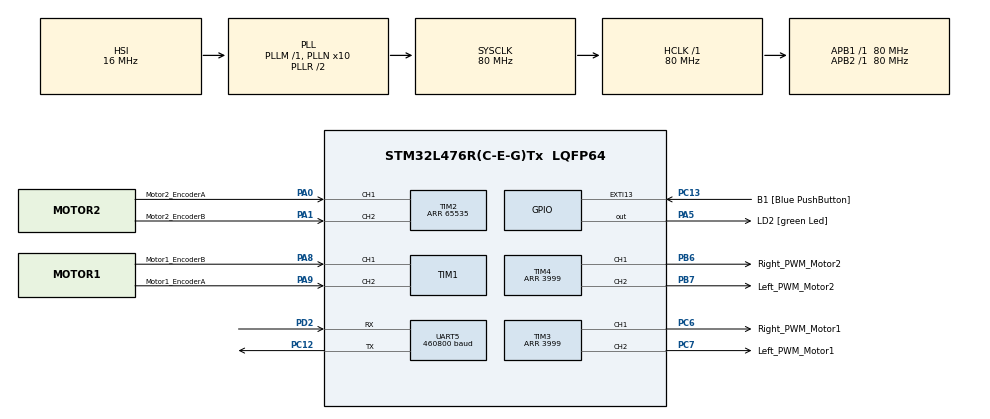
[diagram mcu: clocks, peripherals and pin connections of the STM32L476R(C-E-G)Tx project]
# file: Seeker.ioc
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Mcu.Family=STM32L4
Mcu.Name=STM32L476R(C-E-G)Tx
Mcu.Package=LQFP64
NVIC.PriorityGroup=NVIC_PRIORITYGROUP_4
NVIC.TIM6_DAC_IRQn=true\:1\:0\:true\:false\:true\:true\:true\:true
NVIC.UART5_IRQn=true\:0\:0\:false\:false\:true\:true\:true\:true
PA0.GPIO_Label=Motor2_EncoderA
PA0.Signal=S_TIM2_CH1
PA1.GPIO_Label=Motor2_EncoderB
PA1.Signal=S_TIM2_CH2
PA13\ (JTMS-SWDIO).GPIO_Label=TMS
PA13\ (JTMS-SWDIO).Mode=Serial_Wire
PA13\ (JTMS-SWDIO).Signal=SYS_JTMS-SWDIO
PA14\ (JTCK-SWCLK).GPIO_Label=TCK
PA14\ (JTCK-SWCLK).Mode=Serial_Wire
PA14\ (JTCK-SWCLK).Signal=SYS_JTCK-SWCLK
PA5.GPIO_Label=LD2 [green Led]
PA5.GPIO_ModeDefaultOutputPP=GPIO_MODE_OUTPUT_PP
PA5.GPIO_PuPd=GPIO_NOPULL
PA5.GPIO_Speed=GPIO_SPEED_FREQ_LOW
PA5.Signal=GPIO_Output
PA8.GPIO_Label=Motor1_EncoderB
PA8.Signal=S_TIM1_CH1
PA9.GPIO_Label=Motor1_EncoderA
PA9.Signal=S_TIM1_CH2
PB3\ (JTDO-TRACESWO).GPIO_Label=SWO
PB3\ (JTDO-TRACESWO).Signal=SYS_JTDO-SWO
PB6.GPIO_Label=Right_PWM_Motor2
PB6.Signal=S_TIM4_CH1
PB7.GPIO_Label=Left_PWM_Motor2
PB7.Signal=S_TIM4_CH2
PC12.Mode=Asynchronous
PC12.Signal=UART5_TX
PC13.GPIO_Label=B1 [Blue PushButton]
PC13.GPIO_ModeDefaultEXTI=GPIO_MODE_IT_FALLING
PC13.GPIO_PuPd=GPIO_NOPULL
PC13.Signal=GPXTI13
PC14-OSC32_IN\ (PC14).Mode=LSE-External-Oscillator
PC14-OSC32_IN\ (PC14).Signal=RCC_OSC32_IN
PC15-OSC32_OUT\ (PC15).Mode=LSE-External-Oscillator
PC15-OSC32_OUT\ (PC15).Signal=RCC_OSC32_OUT
PC6.GPIO_Label=Right_PWM_Motor1
PC6.Signal=S_TIM3_CH1
PC7.GPIO_Label=Left_PWM_Motor1
PC7.Signal=S_TIM3_CH2
PD2.Mode=Asynchronous
PD2.Signal=UART5_RX
PH0-OSC_IN\ (PH0).Signal=RCC_OSC_IN
PH1-OSC_OUT\ (PH1).Signal=RCC_OSC_OUT
ProjectManager.HeapSize=0x200
ProjectManager.StackSize=0x400
ProjectManager.TargetToolchain=STM32CubeIDE
RCC.ADCFreq_Value=64000000
RCC.AHBFreq_Value=80000000
RCC.APB1Freq_Value=80000000
RCC.APB1TimFreq_Value=80000000
RCC.APB2Freq_Value=80000000
RCC.APB2TimFreq_Value=80000000
RCC.CortexFreq_Value=80000000
RCC.HCLKFreq_Value=80000000
RCC.HSE_VALUE=8000000
RCC.HSI_VALUE=16000000
RCC.MSI_VALUE=4000000
RCC.PLLN=10
RCC.PLLSourceVirtual=RCC_PLLSOURCE_HSI
RCC.PREFETCH_ENABLE=1
RCC.SYSCLKFreq_VALUE=80000000
RCC.SYSCLKSource=RCC_SYSCLKSOURCE_PLLCLK
RCC.USBFreq_Value=64000000
RCC.VCOOutputFreq_Value=160000000
SH.S_TIM1_CH1.0=TIM1_CH1,Encoder_Interface
SH.S_TIM1_CH2.0=TIM1_CH2,Encoder_Interface
SH.S_TIM2_CH1.0=TIM2_CH1,Encoder_Interface
SH.S_TIM2_CH2.0=TIM2_CH2,Encoder_Interface
SH.S_TIM3_CH1.0=TIM3_CH1,PWM Generation1 CH1
SH.S_TIM3_CH2.0=TIM3_CH2,PWM Generation2 CH2
SH.S_TIM4_CH1.0=TIM4_CH1,PWM Generation1 CH1
SH.S_TIM4_CH2.0=TIM4_CH2,PWM Generation2 CH2
TIM1.EncoderMode=TIM_ENCODERMODE_TI12
TIM2.EncoderMode=TIM_ENCODERMODE_TI12
TIM2.Period=65535
TIM3.AutoReloadPreload=TIM_AUTORELOAD_PRELOAD_ENABLE
TIM3.Channel-PWM\ Generation1\ CH1=TIM_CHANNEL_1
TIM3.Channel-PWM\ Generation2\ CH2=TIM_CHANNEL_2
TIM3.Period=3999
TIM4.AutoReloadPreload=TIM_AUTORELOAD_PRELOAD_ENABLE
TIM4.Channel-PWM\ Generation1\ CH1=TIM_CHANNEL_1
TIM4.Channel-PWM\ Generation2\ CH2=TIM_CHANNEL_2
TIM4.Period=3999
TIM6.AutoReloadPreload=TIM_AUTORELOAD_PRELOAD_DISABLE
TIM6.Period=99
TIM6.Prescaler=7999
UART5.BaudRate=460800
VP_TIM3_VS_ClockSourceINT.Mode=Internal
VP_TIM4_VS_ClockSourceINT.Mode=Internal
VP_TIM6_VS_ClockSourceINT.Mode=Enable_Timer
board=NUCLEO-L476RG

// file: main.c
/* USER CODE BEGIN Header */
/**
  ******************************************************************************
  * @file           : main.c
  * @brief          : Main program body
  ******************************************************************************
  * @attention
  *
  * Copyright (c) 2025 STMicroelectronics.
  * All rights reserved.
  *
  * This software is licensed under terms that can be found in the LICENSE file
  * in the root directory of this software component.
  * If no LICENSE file comes with this software, it is provided AS-IS.
  *
  ******************************************************************************
  */
/* USER CODE END Header */
#include "main.h"

/* USER CODE BEGIN Includes */
#include <math.h>
#include <string.h>
#include <stdio.h>
/* USER CODE END Includes */

TIM_HandleTypeDef htim1;
TIM_HandleTypeDef htim2;
TIM_HandleTypeDef htim3;
TIM_HandleTypeDef htim4;
TIM_HandleTypeDef htim6;

UART_HandleTypeDef huart5;

/* USER CODE BEGIN PV */
#define ADC_MAX 4095
#define ADC_MID 2048
#define DEADZONE 500
#define TIM_ARR 3999

#define SPEED_RAMP_STEP 2.0f  // How fast target speed changes (encoder counts per 0.01s)

// PID Constants - tune these values
#define KP 6.5f     // Proportional gain
#define KI 3.0f     // Integral gain
#define KD 0.04f    // Derivative gain

// ENCODER FILTER: Low-pass filter coefficient (0.0 to 1.0)
#define ENCODER_FILTER_ALPHA 0.3f  // 30% new reading, 70% old reading

// Encoder speed limits (counts per 0.01s = counts per 100Hz update)
#define ENCODER_MAX_SPEED 100
#define ENCODER_MIN_SPEED -100

// Bluetooth UART buffers
#define BT_RX_BUFFER_SIZE 64
uint8_t bt_rx_buffer[BT_RX_BUFFER_SIZE];
uint8_t bt_rx_index = 0;
volatile uint8_t bt_line_ready = 0;

// Received Bluetooth values (replacing local ADC)
volatile uint32_t bt_joy_x = ADC_MID;  // Default to center
volatile uint32_t bt_joy_y = ADC_MID;  // Default to center
volatile uint32_t bt_speed = 0;        // Default to stopped
volatile uint32_t last_bt_rx_time = 0; // Timeout safety

volatile int32_t joy_Y = 0;
volatile int32_t joy_X = 0;
volatile uint32_t speed = 0;
volatile uint32_t speed_base = 0;
volatile uint32_t raw_joy_Y = 0;
volatile uint32_t raw_joy_X = 0;

typedef struct
{
    volatile uint32_t ch1_pwm;
    volatile uint32_t ch2_pwm;
    volatile uint32_t target_ch1;
    volatile uint32_t target_ch2;

    // Encoder variables
    volatile int32_t encoder_count;
    volatile int32_t encoder_speed;
    volatile int32_t encoder_speed_raw;
    volatile float encoder_speed_filtered;
    volatile int32_t last_encoder_count;

    // PID variables
    volatile float target_speed;
    volatile float desired_speed;
    volatile float pid_error;
    volatile float pid_integral;
    volatile float pid_last_error;
    volatile float pid_output;

    // Diagnostic variables
    volatile float p_term;
    volatile float i_term;
    volatile float d_term;

} Motor;

Motor motor1;
Motor motor2;
/* USER CODE END PV */

void SystemClock_Config(void);
static void MX_GPIO_Init(void);
static void MX_TIM3_Init(void);
static void MX_TIM6_Init(void);
static void MX_TIM4_Init(void);
static void MX_TIM1_Init(void);
static void MX_TIM2_Init(void);
static void MX_UART5_Init(void);

/* USER CODE BEGIN 0 */
float ramp_speed_to_target(float current, float target)
{
    if (current < target)
    {
        current += SPEED_RAMP_STEP;
        if (current > target)
            current = target;
    }
    else if (current > target)
    {
        current -= SPEED_RAMP_STEP;
        if (current < target)
            current = target;
    }
    return current;
}

void update_encoder_speed(Motor *motor, int32_t current_encoder_count)
{
    motor->encoder_count = current_encoder_count;

    // Calculate the difference (could be large if counter wraps around)
    int32_t count_diff = current_encoder_count - motor->last_encoder_count;

    // Handle timer counter overflow/underflow (65535 wrap-around)
    if (count_diff > 32768)
    {
        count_diff -= 65536;
    }
    else if (count_diff < -32768)
    {
        count_diff += 65536;
    }

    // Negate if encoders are wired backwards
    motor->encoder_speed_raw = count_diff;

    // Apply low-pass filter to smooth out noise
    motor->encoder_speed_filtered = ENCODER_FILTER_ALPHA * (float)motor->encoder_speed_raw +
                                    (1.0f - ENCODER_FILTER_ALPHA) * motor->encoder_speed_filtered;

    motor->encoder_speed = (int32_t)motor->encoder_speed_filtered;
    motor->last_encoder_count = current_encoder_count;
}

// PID controller function
void update_pid(Motor *motor)
{
    if (motor->target_speed == 0.0f)
    {
        motor->pid_error = 0.0f;
        motor->pid_integral = 0.0f;
        motor->pid_last_error = 0.0f;
        motor->pid_output = 0.0f;
        motor->p_term = 0.0f;
        motor->i_term = 0.0f;
        motor->d_term = 0.0f;
        return;
    }

    float target_encoder_speed = fabs(motor->target_speed);
    float actual_encoder_speed = fabs((float)motor->encoder_speed);

    motor->pid_error = target_encoder_speed - actual_encoder_speed;

    motor->pid_integral += motor->pid_error * 0.01f;

    float max_integral = 200.0f;
    if (motor->pid_integral > max_integral)
        motor->pid_integral = max_integral;
    else if (motor->pid_integral < -max_integral)
        motor->pid_integral = -max_integral;

    float derivative = (motor->pid_error - motor->pid_last_error) / 0.01f;

    motor->p_term = KP * motor->pid_error;
    motor->i_term = KI * motor->pid_integral;
    motor->d_term = KD * derivative;

    float pid_speed_output = motor->p_term + motor->i_term + motor->d_term;

    motor->pid_output = (pid_speed_output / (float)ENCODER_MAX_SPEED) * (float)TIM_ARR;

    if (motor->pid_output > (float)TIM_ARR)
        motor->pid_output = (float)TIM_ARR;
    else if (motor->pid_output < 0.0f)
        motor->pid_output = 0.0f;

    motor->pid_last_error = motor->pid_error;
}

// Parse Bluetooth data and update motor control
void ParseBluetoothData(char *line)
{
    uint32_t x, y, pot;
    if (sscanf(line, "%lu,%lu,%lu", &x, &y, &pot) == 3)
    {
        // Update received values
        bt_joy_x = x;
        bt_joy_y = y;
        bt_speed = pot;

        // Process just like ADC callback
        raw_joy_X = bt_joy_x;
        raw_joy_Y = bt_joy_y;
        speed = bt_speed;

        // Calculate base speed from pot
        speed_base = (speed * TIM_ARR) / ADC_MAX;
        float speed_ratio = (float)speed_base / (float)TIM_ARR;

        joy_Y = (int32_t)ADC_MID - raw_joy_Y ;
        joy_X = raw_joy_X - (int32_t)ADC_MID;

        if (speed_base == 0 || (joy_Y > -(int32_t)DEADZONE && joy_Y < (int32_t)DEADZONE))
        {
            motor1.desired_speed = 0.0f;
            motor2.desired_speed = 0.0f;
        }
        else if (joy_Y > (int32_t)DEADZONE)

        {

        	if ((joy_X > -(int32_t)DEADZONE && joy_X < (int32_t)DEADZONE)) //no turning
        	{

        		motor1.desired_speed = speed_ratio * (float)ENCODER_MAX_SPEED;
        		motor2.desired_speed = speed_ratio * (float)ENCODER_MIN_SPEED;

        	}

        	else if (joy_X > (int32_t)DEADZONE) //turning right
        	{
        		motor1.desired_speed = speed_ratio * (float)ENCODER_MIN_SPEED;
        		motor2.desired_speed = speed_ratio * (float)ENCODER_MIN_SPEED;

        	}

        	else if (joy_X < -(int32_t)DEADZONE) //turning left
        	{
        	   motor1.desired_speed = speed_ratio * (float)ENCODER_MAX_SPEED;
        	   motor2.desired_speed = speed_ratio * (float)ENCODER_MAX_SPEED;

        	}

        }
        else if (joy_Y < -(int32_t)DEADZONE) //would backwards turning be the same as forwards turning?
        {

        	if ((joy_X > -(int32_t)DEADZONE && joy_X < (int32_t)DEADZONE)) //no turning
        	{

        		motor1.desired_speed = speed_ratio * (float)ENCODER_MIN_SPEED;
        		motor2.desired_speed = speed_ratio * (float)ENCODER_MAX_SPEED;

        	}

        	else if (joy_X > (int32_t)DEADZONE) //turning right
        	{
        		motor1.desired_speed = speed_ratio * (float)ENCODER_MIN_SPEED;
        		motor2.desired_speed = speed_ratio * (float)ENCODER_MIN_SPEED;

        	}

        	else if (joy_X < -(int32_t)DEADZONE) //turning left
        	{
        	   motor1.desired_speed = speed_ratio * (float)ENCODER_MAX_SPEED;
        	   motor2.desired_speed = speed_ratio * (float)ENCODER_MAX_SPEED;

        	}
        }
    }
}
/* USER CODE END 0 */

int main(void)
{

  /* MCU Configuration--------------------------------------------------------*/

  /* Reset of all peripherals, Initializes the Flash interface and the Systick. */
  HAL_Init();

  /* Configure the system clock */
  SystemClock_Config();

  /* Initialize all configured peripherals */
  MX_GPIO_Init();
  MX_TIM3_Init();
  MX_TIM6_Init();
  MX_TIM4_Init();
  MX_TIM1_Init();
  MX_TIM2_Init();
  MX_UART5_Init();
  /* USER CODE BEGIN 2 */
  // Initialize motor structs
  motor1.ch1_pwm = 0;
  motor1.ch2_pwm = 0;
  motor1.target_ch1 = 0;
  motor1.target_ch2 = 0;
  motor1.encoder_count = 0;
  motor1.encoder_speed = 0;
  motor1.encoder_speed_raw = 0;
  motor1.encoder_speed_filtered = 0.0f;
  motor1.last_encoder_count = 0;
  motor1.target_speed = 0.0f;
  motor1.desired_speed = 0.0f;
  motor1.pid_error = 0.0f;
  motor1.pid_integral = 0.0f;
  motor1.pid_last_error = 0.0f;
  motor1.pid_output = 0.0f;
  motor1.p_term = 0.0f;
  motor1.i_term = 0.0f;
  motor1.d_term = 0.0f;

  motor2.ch1_pwm = 0;
  motor2.ch2_pwm = 0;
  motor2.target_ch1 = 0;
  motor2.target_ch2 = 0;
  motor2.encoder_count = 0;
  motor2.encoder_speed = 0;
  motor2.encoder_speed_raw = 0;
  motor2.encoder_speed_filtered = 0.0f;
  motor2.last_encoder_count = 0;
  motor2.target_speed = 0.0f;
  motor2.desired_speed = 0.0f;
  motor2.pid_error = 0.0f;
  motor2.pid_integral = 0.0f;
  motor2.pid_last_error = 0.0f;
  motor2.pid_output = 0.0f;
  motor2.p_term = 0.0f;
  motor2.i_term = 0.0f;
  motor2.d_term = 0.0f;

  // Start encoder timers (TIM1 for motor1, TIM2 for motor2)
  HAL_TIM_Encoder_Start(&htim1, TIM_CHANNEL_ALL);
  HAL_TIM_Encoder_Start(&htim2, TIM_CHANNEL_ALL);

  HAL_TIM_Base_Start_IT(&htim6); //100Hz timer for speed calculation and control

  //start TIM3 (motor 1 PWM)
  if (HAL_TIM_Base_Start(&htim3) != HAL_OK)
  {
      while(1) { __NOP(); }
  }
  if (HAL_TIM_PWM_Start(&htim3, TIM_CHANNEL_1) != HAL_OK)
  {
      while(1) { __NOP(); }
  }
  if (HAL_TIM_PWM_Start(&htim3, TIM_CHANNEL_2) != HAL_OK)
  {
      while(1) { __NOP(); }
  }

  //start TIM4 (motor 2 PWM)
  if (HAL_TIM_Base_Start(&htim4) != HAL_OK)
  {
      while(1) { __NOP(); }
  }
  if (HAL_TIM_PWM_Start(&htim4, TIM_CHANNEL_1) != HAL_OK)
  {
      while(1) { __NOP(); }
  }
  if (HAL_TIM_PWM_Start(&htim4, TIM_CHANNEL_2) != HAL_OK)
  {
      while(1) { __NOP(); }
  }

  // ========== UART5 BLUETOOTH SETUP ==========
  // Enable UART5 interrupt in NVIC
  HAL_NVIC_SetPriority(UART5_IRQn, 0, 0);
  HAL_NVIC_EnableIRQ(UART5_IRQn);

  // ARM the UART to receive the first byte
  // This MUST be called to start the interrupt chain
  HAL_UART_Receive_IT(&huart5, &bt_rx_buffer[0], 1);

  // Initialize safety timeout
  last_bt_rx_time = HAL_GetTick();

  /* USER CODE END 2 */

  /* Infinite loop */
  while (1)
  {

  }
}

void SystemClock_Config(void)
{
  RCC_OscInitTypeDef RCC_OscInitStruct = {0};
  RCC_ClkInitTypeDef RCC_ClkInitStruct = {0};

  /** Configure the main internal regulator output voltage
  */
  if (HAL_PWREx_ControlVoltageScaling(PWR_REGULATOR_VOLTAGE_SCALE1) != HAL_OK)
  {
    Error_Handler();
  }

  /** Initializes the RCC Oscillators according to the specified parameters
  * in the RCC_OscInitTypeDef structure.
  */
  RCC_OscInitStruct.OscillatorType = RCC_OSCILLATORTYPE_HSI;
  RCC_OscInitStruct.HSIState = RCC_HSI_ON;
  RCC_OscInitStruct.HSICalibrationValue = RCC_HSICALIBRATION_DEFAULT;
  RCC_OscInitStruct.PLL.PLLState = RCC_PLL_ON;
  RCC_OscInitStruct.PLL.PLLSource = RCC_PLLSOURCE_HSI;
  RCC_OscInitStruct.PLL.PLLM = 1;
  RCC_OscInitStruct.PLL.PLLN = 10;
  RCC_OscInitStruct.PLL.PLLP = RCC_PLLP_DIV7;
  RCC_OscInitStruct.PLL.PLLQ = RCC_PLLQ_DIV2;
  RCC_OscInitStruct.PLL.PLLR = RCC_PLLR_DIV2;
  if (HAL_RCC_OscConfig(&RCC_OscInitStruct) != HAL_OK)
  {
    Error_Handler();
  }

  /** Initializes the CPU, AHB and APB buses clocks
  */
  RCC_ClkInitStruct.ClockType = RCC_CLOCKTYPE_HCLK|RCC_CLOCKTYPE_SYSCLK
                              |RCC_CLOCKTYPE_PCLK1|RCC_CLOCKTYPE_PCLK2;
  RCC_ClkInitStruct.SYSCLKSource = RCC_SYSCLKSOURCE_PLLCLK;
  RCC_ClkInitStruct.AHBCLKDivider = RCC_SYSCLK_DIV1;
  RCC_ClkInitStruct.APB1CLKDivider = RCC_HCLK_DIV1;
  RCC_ClkInitStruct.APB2CLKDivider = RCC_HCLK_DIV1;

  if (HAL_RCC_ClockConfig(&RCC_ClkInitStruct, FLASH_LATENCY_4) != HAL_OK)
  {
    Error_Handler();
  }
}

static void MX_TIM1_Init(void)
{

  TIM_Encoder_InitTypeDef sConfig = {0};
  TIM_MasterConfigTypeDef sMasterConfig = {0};

  htim1.Instance = TIM1;
  htim1.Init.Prescaler = 0;
  htim1.Init.CounterMode = TIM_COUNTERMODE_UP;
  htim1.Init.Period = 65535;
  htim1.Init.ClockDivision = TIM_CLOCKDIVISION_DIV1;
  htim1.Init.RepetitionCounter = 0;
  htim1.Init.AutoReloadPreload = TIM_AUTORELOAD_PRELOAD_DISABLE;
  sConfig.EncoderMode = TIM_ENCODERMODE_TI12;
  sConfig.IC1Polarity = TIM_ICPOLARITY_RISING;
  sConfig.IC1Selection = TIM_ICSELECTION_DIRECTTI;
  sConfig.IC1Prescaler = TIM_ICPSC_DIV1;
  sConfig.IC1Filter = 0;
  sConfig.IC2Polarity = TIM_ICPOLARITY_RISING;
  sConfig.IC2Selection = TIM_ICSELECTION_DIRECTTI;
  sConfig.IC2Prescaler = TIM_ICPSC_DIV1;
  sConfig.IC2Filter = 0;
  if (HAL_TIM_Encoder_Init(&htim1, &sConfig) != HAL_OK)
  {
    Error_Handler();
  }
  sMasterConfig.MasterOutputTrigger = TIM_TRGO_RESET;
  sMasterConfig.MasterOutputTrigger2 = TIM_TRGO2_RESET;
  sMasterConfig.MasterSlaveMode = TIM_MASTERSLAVEMODE_DISABLE;
  if (HAL_TIMEx_MasterConfigSynchronization(&htim1, &sMasterConfig) != HAL_OK)
  {
    Error_Handler();
  }

}

static void MX_TIM2_Init(void)
{

  TIM_Encoder_InitTypeDef sConfig = {0};
  TIM_MasterConfigTypeDef sMasterConfig = {0};

  htim2.Instance = TIM2;
  htim2.Init.Prescaler = 0;
  htim2.Init.CounterMode = TIM_COUNTERMODE_UP;
  htim2.Init.Period = 65535;
  htim2.Init.ClockDivision = TIM_CLOCKDIVISION_DIV1;
  htim2.Init.AutoReloadPreload = TIM_AUTORELOAD_PRELOAD_DISABLE;
  sConfig.EncoderMode = TIM_ENCODERMODE_TI12;
  sConfig.IC1Polarity = TIM_ICPOLARITY_RISING;
  sConfig.IC1Selection = TIM_ICSELECTION_DIRECTTI;
  sConfig.IC1Prescaler = TIM_ICPSC_DIV1;
  sConfig.IC1Filter = 0;
  sConfig.IC2Polarity = TIM_ICPOLARITY_RISING;
  sConfig.IC2Selection = TIM_ICSELECTION_DIRECTTI;
  sConfig.IC2Prescaler = TIM_ICPSC_DIV1;
  sConfig.IC2Filter = 0;
  if (HAL_TIM_Encoder_Init(&htim2, &sConfig) != HAL_OK)
  {
    Error_Handler();
  }
  sMasterConfig.MasterOutputTrigger = TIM_TRGO_RESET;
  sMasterConfig.MasterSlaveMode = TIM_MASTERSLAVEMODE_DISABLE;
  if (HAL_TIMEx_MasterConfigSynchronization(&htim2, &sMasterConfig) != HAL_OK)
  {
    Error_Handler();
  }

}

static void MX_TIM3_Init(void)
{

  TIM_ClockConfigTypeDef sClockSourceConfig = {0};
  TIM_MasterConfigTypeDef sMasterConfig = {0};
  TIM_OC_InitTypeDef sConfigOC = {0};

  htim3.Instance = TIM3;
  htim3.Init.Prescaler = 0;
  htim3.Init.CounterMode = TIM_COUNTERMODE_UP;
  htim3.Init.Period = 3999;
  htim3.Init.ClockDivision = TIM_CLOCKDIVISION_DIV1;
  htim3.Init.AutoReloadPreload = TIM_AUTORELOAD_PRELOAD_ENABLE;
  if (HAL_TIM_Base_Init(&htim3) != HAL_OK)
  {
    Error_Handler();
  }
  sClockSourceConfig.ClockSource = TIM_CLOCKSOURCE_INTERNAL;
  if (HAL_TIM_ConfigClockSource(&htim3, &sClockSourceConfig) != HAL_OK)
  {
    Error_Handler();
  }
  if (HAL_TIM_PWM_Init(&htim3) != HAL_OK)
  {
    Error_Handler();
  }
  sMasterConfig.MasterOutputTrigger = TIM_TRGO_RESET;
  sMasterConfig.MasterSlaveMode = TIM_MASTERSLAVEMODE_DISABLE;
  if (HAL_TIMEx_MasterConfigSynchronization(&htim3, &sMasterConfig) != HAL_OK)
  {
    Error_Handler();
  }
  sConfigOC.OCMode = TIM_OCMODE_PWM1;
  sConfigOC.Pulse = 0;
  sConfigOC.OCPolarity = TIM_OCPOLARITY_HIGH;
  sConfigOC.OCFastMode = TIM_OCFAST_DISABLE;
  if (HAL_TIM_PWM_ConfigChannel(&htim3, &sConfigOC, TIM_CHANNEL_1) != HAL_OK)
  {
    Error_Handler();
  }
  if (HAL_TIM_PWM_ConfigChannel(&htim3, &sConfigOC, TIM_CHANNEL_2) != HAL_OK)
  {
    Error_Handler();
  }
  HAL_TIM_MspPostInit(&htim3);

}

static void MX_TIM4_Init(void)
{

  TIM_ClockConfigTypeDef sClockSourceConfig = {0};
  TIM_MasterConfigTypeDef sMasterConfig = {0};
  TIM_OC_InitTypeDef sConfigOC = {0};

  htim4.Instance = TIM4;
  htim4.Init.Prescaler = 0;
  htim4.Init.CounterMode = TIM_COUNTERMODE_UP;
  htim4.Init.Period = 3999;
  htim4.Init.ClockDivision = TIM_CLOCKDIVISION_DIV1;
  htim4.Init.AutoReloadPreload = TIM_AUTORELOAD_PRELOAD_ENABLE;
  if (HAL_TIM_Base_Init(&htim4) != HAL_OK)
  {
    Error_Handler();
  }
  sClockSourceConfig.ClockSource = TIM_CLOCKSOURCE_INTERNAL;
  if (HAL_TIM_ConfigClockSource(&htim4, &sClockSourceConfig) != HAL_OK)
  {
    Error_Handler();
  }
  if (HAL_TIM_PWM_Init(&htim4) != HAL_OK)
  {
    Error_Handler();
  }
  sMasterConfig.MasterOutputTrigger = TIM_TRGO_RESET;
  sMasterConfig.MasterSlaveMode = TIM_MASTERSLAVEMODE_DISABLE;
  if (HAL_TIMEx_MasterConfigSynchronization(&htim4, &sMasterConfig) != HAL_OK)
  {
    Error_Handler();
  }
  sConfigOC.OCMode = TIM_OCMODE_PWM1;
  sConfigOC.Pulse = 0;
  sConfigOC.OCPolarity = TIM_OCPOLARITY_HIGH;
  sConfigOC.OCFastMode = TIM_OCFAST_DISABLE;
  if (HAL_TIM_PWM_ConfigChannel(&htim4, &sConfigOC, TIM_CHANNEL_1) != HAL_OK)
  {
    Error_Handler();
  }
  if (HAL_TIM_PWM_ConfigChannel(&htim4, &sConfigOC, TIM_CHANNEL_2) != HAL_OK)
  {
    Error_Handler();
  }
  HAL_TIM_MspPostInit(&htim4);

}

static void MX_TIM6_Init(void)
{

  TIM_MasterConfigTypeDef sMasterConfig = {0};

  htim6.Instance = TIM6;
  htim6.Init.Prescaler = 7999;
  htim6.Init.CounterMode = TIM_COUNTERMODE_UP;
  htim6.Init.Period = 99;
  htim6.Init.AutoReloadPreload = TIM_AUTORELOAD_PRELOAD_DISABLE;
  if (HAL_TIM_Base_Init(&htim6) != HAL_OK)
  {
    Error_Handler();
  }
  sMasterConfig.MasterOutputTrigger = TIM_TRGO_RESET;
  sMasterConfig.MasterSlaveMode = TIM_MASTERSLAVEMODE_DISABLE;
  if (HAL_TIMEx_MasterConfigSynchronization(&htim6, &sMasterConfig) != HAL_OK)
  {
    Error_Handler();
  }

}

static void MX_UART5_Init(void)
{

  huart5.Instance = UART5;
  huart5.Init.BaudRate = 460800;
  huart5.Init.WordLength = UART_WORDLENGTH_8B;
  huart5.Init.StopBits = UART_STOPBITS_1;
  huart5.Init.Parity = UART_PARITY_NONE;
  huart5.Init.Mode = UART_MODE_TX_RX;
  huart5.Init.HwFlowCtl = UART_HWCONTROL_NONE;
  huart5.Init.OverSampling = UART_OVERSAMPLING_16;
  huart5.Init.OneBitSampling = UART_ONE_BIT_SAMPLE_DISABLE;
  huart5.AdvancedInit.AdvFeatureInit = UART_ADVFEATURE_NO_INIT;
  if (HAL_UART_Init(&huart5) != HAL_OK)
  {
    Error_Handler();
  }

}

static void MX_GPIO_Init(void)
{
  GPIO_InitTypeDef GPIO_InitStruct = {0};

  /* GPIO Ports Clock Enable */
  __HAL_RCC_GPIOC_CLK_ENABLE();
  __HAL_RCC_GPIOH_CLK_ENABLE();
  __HAL_RCC_GPIOA_CLK_ENABLE();
  __HAL_RCC_GPIOD_CLK_ENABLE();
  __HAL_RCC_GPIOB_CLK_ENABLE();

  /*Configure GPIO pin Output Level */
  HAL_GPIO_WritePin(LD2_GPIO_Port, LD2_Pin, GPIO_PIN_RESET);

  /*Configure GPIO pin : B1_Pin */
  GPIO_InitStruct.Pin = B1_Pin;
  GPIO_InitStruct.Mode = GPIO_MODE_IT_FALLING;
  GPIO_InitStruct.Pull = GPIO_NOPULL;
  HAL_GPIO_Init(B1_GPIO_Port, &GPIO_InitStruct);

  /*Configure GPIO pin : LD2_Pin */
  GPIO_InitStruct.Pin = LD2_Pin;
  GPIO_InitStruct.Mode = GPIO_MODE_OUTPUT_PP;
  GPIO_InitStruct.Pull = GPIO_NOPULL;
  GPIO_InitStruct.Speed = GPIO_SPEED_FREQ_LOW;
  HAL_GPIO_Init(LD2_GPIO_Port, &GPIO_InitStruct);

}

/* USER CODE BEGIN 4 */
void HAL_UART_RxCpltCallback(UART_HandleTypeDef *huart)
{
    if (huart->Instance == UART5)
    {
        // Update timeout
        last_bt_rx_time = HAL_GetTick();

        // Toggle LED to confirm we're receiving data
        HAL_GPIO_TogglePin(LD2_GPIO_Port, LD2_Pin);

        uint8_t received_byte = bt_rx_buffer[bt_rx_index];

        // Check for newline (end of packet)
        if (received_byte == '\n' || received_byte == '\r')
        {
            if (bt_rx_index > 0)  // Only process if we have data
            {
                bt_rx_buffer[bt_rx_index] = '\0';  // Null terminate
                ParseBluetoothData((char*)bt_rx_buffer);
                bt_rx_index = 0;  // Reset for next packet
            }
        }
        else if (bt_rx_index < BT_RX_BUFFER_SIZE - 1)
        {
            bt_rx_index++;
        }
        else
        {
            // Buffer overflow protection
            bt_rx_index = 0;
        }

        // CRITICAL: Re-enable interrupt for next byte
        HAL_UART_Receive_IT(&huart5, &bt_rx_buffer[bt_rx_index], 1);
    }
}

// Timer callback - 100Hz motor control loop
void HAL_TIM_PeriodElapsedCallback(TIM_HandleTypeDef *htim)
{
    if (htim->Instance == TIM6) // 100Hz update
    {
        // SAFETY: If no Bluetooth data for 500ms, stop motors
        if ((HAL_GetTick() - last_bt_rx_time) > 500)
        {
            motor1.desired_speed = 0.0f;
            motor2.desired_speed = 0.0f;
        }

        // Read encoder counts
        int32_t enc1_count = (int32_t)__HAL_TIM_GET_COUNTER(&htim1);
        int32_t enc2_count = (int32_t)__HAL_TIM_GET_COUNTER(&htim2);

        // Update encoder speeds
        update_encoder_speed(&motor1, enc1_count);
        update_encoder_speed(&motor2, enc2_count);

        // Ramp target_speed smoothly towards desired_speed
        motor1.target_speed = ramp_speed_to_target(motor1.target_speed, motor1.desired_speed);
        motor2.target_speed = ramp_speed_to_target(motor2.target_speed, motor2.desired_speed);

        // Update PID controllers
        update_pid(&motor1);
        update_pid(&motor2);

        // Set targets based on PID output - Motor 1
        if (motor1.target_speed > 0.0f)
        {
            motor1.target_ch1 = (uint32_t)motor1.pid_output;
            motor1.target_ch2 = 0;
        }
        else if (motor1.target_speed < 0.0f)
        {
            motor1.target_ch1 = 0;
            motor1.target_ch2 = (uint32_t)motor1.pid_output;
        }
        else
        {
            motor1.target_ch1 = 0;
            motor1.target_ch2 = 0;
        }

        // Set targets based on PID output - Motor 2
        if (motor2.target_speed > 0.0f)
        {
            motor2.target_ch1 = (uint32_t)motor2.pid_output;
            motor2.target_ch2 = 0;
        }
        else if (motor2.target_speed < 0.0f)
        {
            motor2.target_ch1 = 0;
            motor2.target_ch2 = (uint32_t)motor2.pid_output;
        }
        else
        {
            motor2.target_ch1 = 0;
            motor2.target_ch2 = 0;
        }

        // SAFETY: Block opposite direction until current direction stops
        if (motor1.ch1_pwm > 10 && motor1.target_ch2 > 0)
        {
            motor1.target_ch2 = 0;
        }
        if (motor1.ch2_pwm > 10 && motor1.target_ch1 > 0)
        {
            motor1.target_ch1 = 0;
        }

        if (motor2.ch1_pwm > 10 && motor2.target_ch2 > 0)
        {
            motor2.target_ch2 = 0;
        }
        if (motor2.ch2_pwm > 10 && motor2.target_ch1 > 0)
        {
            motor2.target_ch1 = 0;
        }

        // PID directly controls PWM
        motor1.ch1_pwm = motor1.target_ch1;
        motor1.ch2_pwm = motor1.target_ch2;
        motor2.ch1_pwm = motor2.target_ch1;
        motor2.ch2_pwm = motor2.target_ch2;

        // Write to PWM registers
        __HAL_TIM_SET_COMPARE(&htim3, TIM_CHANNEL_1, motor1.ch1_pwm);
        __HAL_TIM_SET_COMPARE(&htim3, TIM_CHANNEL_2, motor1.ch2_pwm);
        __HAL_TIM_SET_COMPARE(&htim4, TIM_CHANNEL_1, motor2.ch1_pwm);
        __HAL_TIM_SET_COMPARE(&htim4, TIM_CHANNEL_2, motor2.ch2_pwm);
    }
}

/* USER CODE END 4 */

void Error_Handler(void)
{
  __disable_irq();
  while (1)
  {
  }
}
